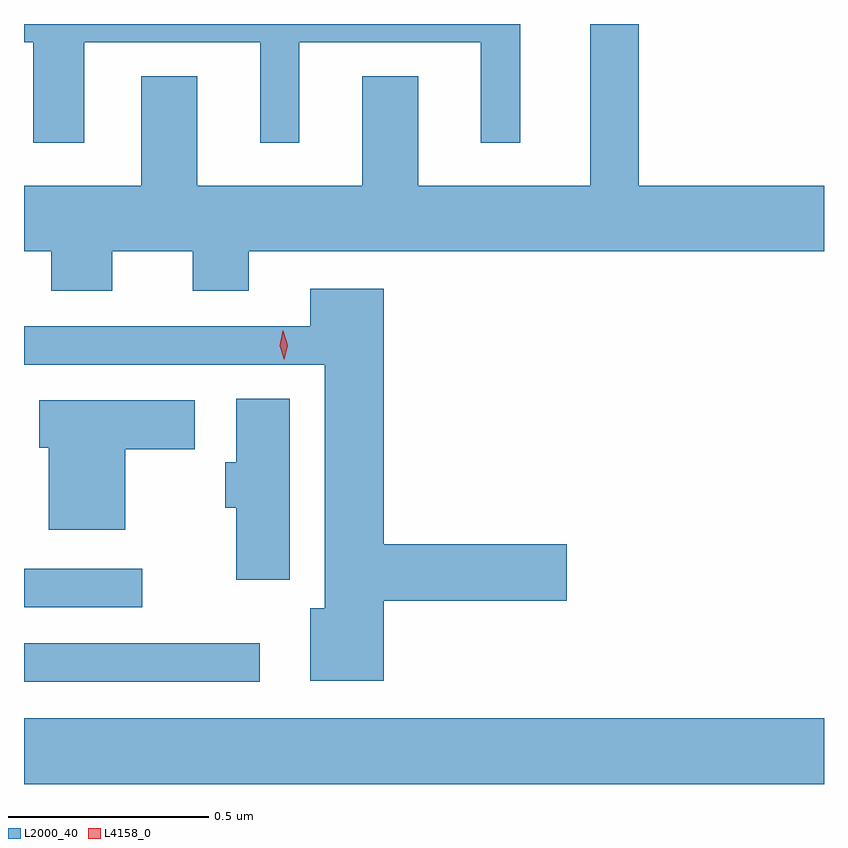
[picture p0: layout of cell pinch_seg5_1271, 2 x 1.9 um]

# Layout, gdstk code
import gdstk
lib = gdstk.Library(unit=1e-6, precision=1e-09)
def R(c, l, rs):  # rectangles x0, y0, x1, y1
    for r in rs: c.add(gdstk.rectangle(r[:2], r[2:], *l))
def P(c, l, *ps):  # polygons
    for p in ps: c.add(gdstk.Polygon(p, *l))
L2000_40 = (2000, 40)
L4158_0 = (4158, 0)

pinch_seg5_1271 = lib.new_cell('pinch_seg5_1271')
R(pinch_seg5_1271, L2000_40, [(460.302,888.728,462.302,888.892), (460.302,888.984,460.891,889.08), (460.302,889.17,460.597,889.266)])
P(pinch_seg5_1271, L2000_40, [(460.522,890.06),(460.724,890.06),(460.724,889.961),(460.864,889.961),(460.864,890.06),(462.302,890.06),(462.302,890.224),(461.839,890.224),(461.839,890.628),(461.717,890.628),(461.717,890.224),(461.287,890.224),(461.287,890.497),(461.147,890.497),(461.147,890.224),(460.735,890.224),(460.735,890.497),(460.595,890.497),(460.595,890.224),(460.302,890.224),(460.302,890.06),(460.37,890.06),(460.37,889.961),(460.522,889.961)],
  [(460.453,890.582),(460.892,890.582),(460.892,890.331),(460.99,890.331),(460.99,890.582),(461.444,890.582),(461.444,890.331),(461.542,890.331),(461.542,890.628),(460.302,890.628),(460.302,890.582),(460.325,890.582),(460.325,890.331),(460.453,890.331)],
  [(461.201,889.186),(461.659,889.186),(461.659,889.328),(461.201,889.328),(461.201,889.966),(461.018,889.966),(461.018,889.872),(460.302,889.872),(460.302,889.776),(461.054,889.776),(461.054,889.168),(461.018,889.168),(461.018,888.986),(461.201,888.986)],
  [(460.966,889.691),(460.832,889.691),(460.832,889.533),(460.805,889.533),(460.805,889.419),(460.832,889.419),(460.832,889.239),(460.966,889.239)],
  [(460.555,889.565),(460.729,889.565),(460.729,889.687),(460.34,889.687),(460.34,889.569),(460.364,889.569),(460.364,889.364),(460.555,889.364)])
P(pinch_seg5_1271, L4158_0, [(460.952,889.789),(460.952,889.789),(460.941,889.824),(460.949,889.861),(460.949,889.861),(460.95,889.861),(460.961,889.825),(460.952,889.789)])

lib.write_gds('pinch_seg5_1271.gds')
